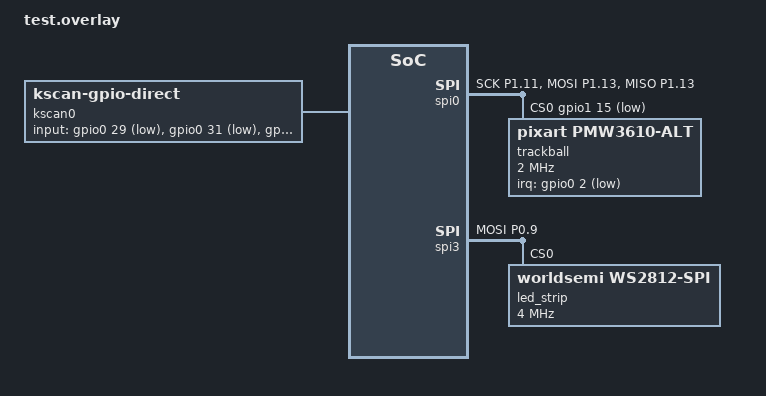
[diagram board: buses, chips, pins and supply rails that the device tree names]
#include <dt-bindings/zmk/matrix_transform.h>
#include <dt-bindings/led/led.h>
#include <physical_layouts.dtsi>

/ {
    chosen {
        zmk,kscan = &kscan0;
        zmk,physical-layout = &physical_layout0;
        zmk,matrix_transform = &default_transform;
        zmk,bt-profile-led-strip = &led_strip;
        // Other chosen items
    };

    kscan0: kscan_direct {
        compatible = "zmk,kscan-gpio-direct";
        input-gpios
            = <&gpio0 29 (GPIO_ACTIVE_LOW | GPIO_PULL_UP)>
            , <&gpio0 31 (GPIO_ACTIVE_LOW | GPIO_PULL_UP)>
            , <&gpio0 10 (GPIO_ACTIVE_LOW | GPIO_PULL_UP)>
            ;
        wakeup-source;
    };

    physical_layout0: physical_layout_0 { // First physical layout, use different naming for other layouts
        compatible = "zmk,physical-layout";
        display-name = "Default Layout";
        kscan = <&kscan0>; // Label of the kscan node, optional if all layouts use the same
        transform = <&default_transform>; // Label of the matrix transform for this layout
        keys  //                     w   h    x    y   rot rx ry
            = <&key_physical_attrs 100 100    0    0    0   0  0>  // Left (left of trackball)
            , <&key_physical_attrs 100 100  350    0    0   0  0>  // Right (right of trackball, 2.5u center gap)
            , <&key_physical_attrs  60  50  195  140    0   0  0>  // FN (front edge, centered below trackball)
            ;
    };

    default_transform: keymap_transform0 {
        compatible = "zmk,matrix-transform";
        columns = <3>;
        rows = <1>;
        map = <
        //   Key left
            RC(0,0)
        //   Key right
            RC(0,1)
        //   Key FN
            RC(0,2)
        >;
    };
};

&pinctrl {
    spi0_default: spi0_default {
        group1 {
            psels = <NRF_PSEL(SPIM_SCK, 1, 11)>,
                <NRF_PSEL(SPIM_MOSI, 1, 13)>,
                <NRF_PSEL(SPIM_MISO, 1, 13)>;
        };
    };

    spi0_sleep: spi0_sleep {
        group1 {
            psels = <NRF_PSEL(SPIM_SCK, 1, 11)>,
                <NRF_PSEL(SPIM_MOSI, 1, 13)>,
                <NRF_PSEL(SPIM_MISO, 1, 13)>;
            low-power-enable;
        };
    };

    spi3_default: spi3_default {
        group1 {
            psels = <NRF_PSEL(SPIM_MOSI, 0, 9)>;
        };
    };

    spi3_sleep: spi3_sleep {
        group1 {
            psels = <NRF_PSEL(SPIM_MOSI, 0, 9)>;
            low-power-enable;
        };
    };

};

#include <zephyr/dt-bindings/input/input-event-codes.h>

&spi0 {
    status = "okay";
    compatible = "nordic,nrf-spim";
    pinctrl-0 = <&spi0_default>;
    pinctrl-1 = <&spi0_sleep>;
    pinctrl-names = "default", "sleep";
    cs-gpios = <&gpio1 15 GPIO_ACTIVE_LOW>;

    trackball: trackball@0 {
        status = "okay";
        compatible = "pixart,pmw3610-alt";
        reg = <0>;
        spi-max-frequency = <2000000>;
        irq-gpios = <&gpio0 2 (GPIO_ACTIVE_LOW | GPIO_PULL_UP)>;

        cpi = <600>;
        //swap-xy; /* optional */
        invert-x; /* optional */
        //invert-y; /* optional */
        evt-type = <INPUT_EV_REL>;
        x-input-code = <INPUT_REL_X>;
        y-input-code = <INPUT_REL_Y>;

        force-awake;
        /* keep the sensor awake while ZMK activity state is ACTIVE,
           fallback to normal downshift mode after ZMK goes into IDLE / SLEEP mode.
           thus, the sensor would be a `wakeup-source` */

        //force-awake-4ms-mode;
        /* while force-awake is acitvated, enable this mode to force sampling per
           4ms, where the default sampling rate is 8ms. Made for ESB, not for BLE*/
        /* NOTE: apply this mode if you need 250Hz with direct USB connection. */
    };
};

&spi3 {
    compatible = "nordic,nrf-spim";
    status = "okay";
    pinctrl-0 = <&spi3_default>;
    pinctrl-1 = <&spi3_sleep>;
    pinctrl-names = "default", "sleep";

    led_strip: ws2812@0 {
        compatible = "worldsemi,ws2812-spi";
        reg = <0>;
        spi-max-frequency = <4000000>;
        chain-length = <2>;
        spi-one-frame = <0x70>;
        spi-zero-frame = <0x40>;
        color-mapping = <LED_COLOR_ID_GREEN LED_COLOR_ID_RED LED_COLOR_ID_BLUE>;
    };
};


/ {
  trackball_listener: trackball_listener {
    compatible = "zmk,input-listener";
    device = <&trackball>;
  };
};
